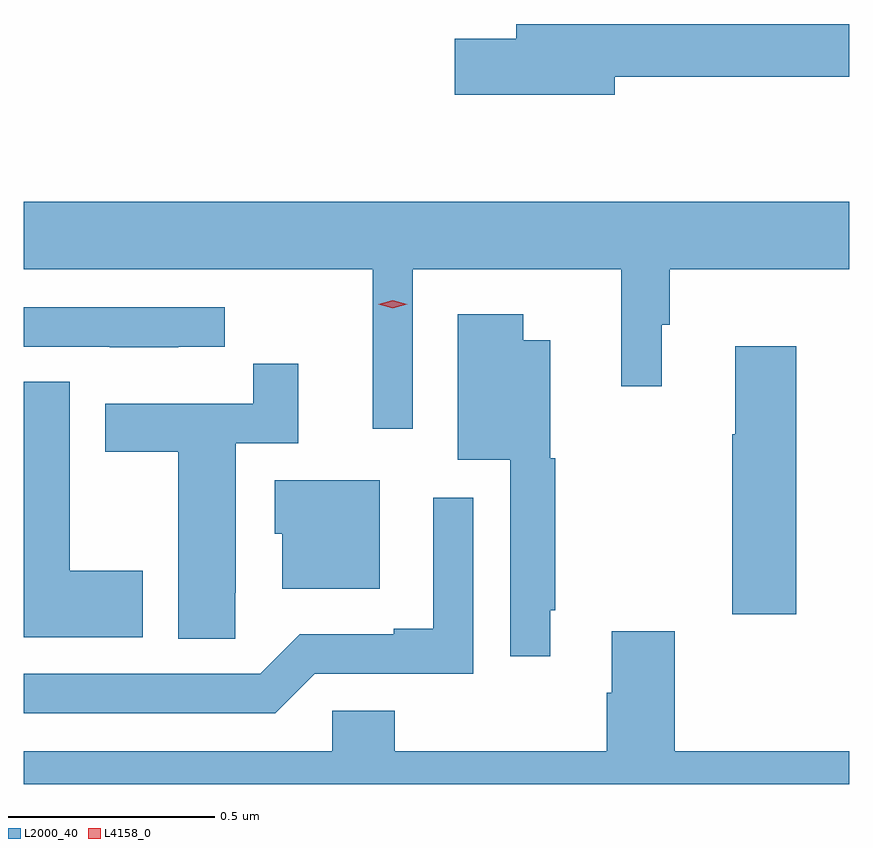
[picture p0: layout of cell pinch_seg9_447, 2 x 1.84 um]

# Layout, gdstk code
import gdstk
lib = gdstk.Library(unit=1e-6, precision=1e-09)
def P(c, l, *ps):  # polygons
    for p in ps: c.add(gdstk.Polygon(p, *l))
L2000_40 = (2000, 40)
L4158_0 = (4158, 0)

pinch_seg9_447 = lib.new_cell('pinch_seg9_447')
P(pinch_seg9_447, L2000_40, [(205.462,1216.866),(206.03,1216.866),(206.03,1216.994),(205.223,1216.994),(205.223,1216.958),(205.074,1216.958),(205.074,1216.823),(205.462,1216.823)],
  [(204.972,1216.4),(205.477,1216.4),(205.477,1216.116),(205.576,1216.116),(205.576,1216.266),(205.595,1216.266),(205.595,1216.4),(206.03,1216.4),(206.03,1216.564),(204.03,1216.564),(204.03,1216.4),(204.875,1216.4),(204.875,1216.014),(204.972,1216.014)],
  [(204.404,1216.212),(204.517,1216.212),(204.517,1216.308),(204.03,1216.308),(204.03,1216.212),(204.238,1216.212),(204.238,1216.211),(204.404,1216.211)],
  [(205.306,1215.574),(205.318,1215.574),(205.318,1215.942),(205.306,1215.942),(205.306,1216.228),(205.24,1216.228),(205.24,1216.291),(205.082,1216.291),(205.082,1215.938),(205.209,1215.938),(205.209,1215.462),(205.306,1215.462)],
  [(205.901,1216.213),(205.754,1216.213),(205.754,1216),(205.747,1216),(205.747,1215.564),(205.901,1215.564)],
  [(204.543,1215.616),(204.544,1215.616),(204.544,1215.978),(204.695,1215.978),(204.695,1216.171),(204.586,1216.171),(204.586,1216.074),(204.227,1216.074),(204.227,1215.958),(204.404,1215.958),(204.404,1215.505),(204.543,1215.505)],
  [(204.319,1215.669),(204.142,1215.669),(204.142,1216.127),(204.03,1216.127),(204.03,1215.509),(204.319,1215.509)],
  [(204.892,1215.889),(204.638,1215.889),(204.638,1215.759),(204.656,1215.759),(204.656,1215.626),(204.892,1215.626)],
  [(204.735,1215.42),(205.119,1215.42),(205.119,1215.847),(205.022,1215.847),(205.022,1215.529),(204.926,1215.529),(204.926,1215.516),(204.699,1215.516),(204.603,1215.42),(204.03,1215.42),(204.03,1215.324),(204.639,1215.324)],
  [(206.03,1215.232),(205.607,1215.232),(205.607,1215.523),(205.454,1215.523),(205.454,1215.374),(205.442,1215.374),(205.442,1215.232),(204.929,1215.232),(204.929,1215.33),(204.777,1215.33),(204.777,1215.232),(204.03,1215.232),(204.03,1215.153),(206.03,1215.153)])
P(pinch_seg9_447, L4158_0, [(204.924,1216.305),(204.889,1216.315),(204.889,1216.315),(204.889,1216.315),(204.924,1216.325),(204.959,1216.315),(204.959,1216.315),(204.959,1216.315)])

lib.write_gds('pinch_seg9_447.gds')
